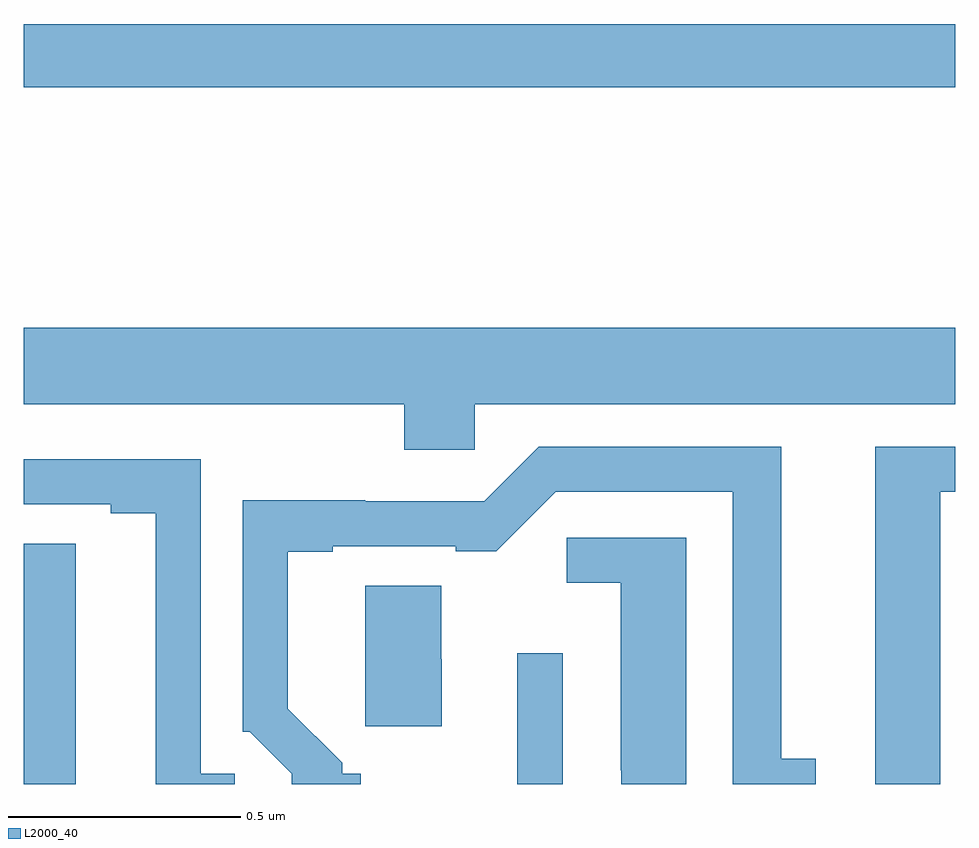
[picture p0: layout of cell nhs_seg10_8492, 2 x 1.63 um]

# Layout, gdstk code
import gdstk
lib = gdstk.Library(unit=1e-6, precision=1e-09)
def R(c, l, rs):  # rectangles x0, y0, x1, y1
    for r in rs: c.add(gdstk.rectangle(r[:2], r[2:], *l))
def P(c, l, *ps):  # polygons
    for p in ps: c.add(gdstk.Polygon(p, *l))
L2000_40 = (2000, 40)

nhs_seg10_8492 = lib.new_cell('nhs_seg10_8492')
R(nhs_seg10_8492, L2000_40, [(217,1299.5,217.111,1300.016), (218.06,1299.5,218.157,1299.781), (217,1300.996,219,1301.132)])
P(nhs_seg10_8492, L2000_40, [(217.968,1300.316),(219,1300.316),(219,1300.48),(217,1300.48),(217,1300.316),(217.817,1300.316),(217.817,1300.218),(217.968,1300.218)],
  [(217.723,1299.522),(217.684,1299.522),(217.684,1299.546),(217.567,1299.662),(217.567,1299.999),(217.663,1299.999),(217.663,1300.011),(217.928,1300.011),(217.928,1300),(218.014,1300),(218.142,1300.128),(218.522,1300.128),(218.522,1299.5),(218.701,1299.5),(218.701,1299.554),(218.626,1299.554),(218.626,1300.224),(218.106,1300.224),(217.989,1300.107),(217.733,1300.107),(217.733,1300.109),(217.47,1300.109),(217.47,1299.612),(217.485,1299.612),(217.575,1299.522),(217.575,1299.5),(217.723,1299.5)],
  [(218.968,1300.128),(219,1300.128),(219,1300.224),(218.828,1300.224),(218.828,1299.5),(218.968,1299.5)],
  [(217.453,1299.522),(217.38,1299.522),(217.38,1300.197),(217,1300.197),(217,1300.101),(217.187,1300.101),(217.187,1300.081),(217.283,1300.081),(217.283,1299.5),(217.453,1299.5)],
  [(218.422,1300.029),(218.166,1300.029),(218.166,1299.932),(218.282,1299.932),(218.282,1299.529),(218.283,1299.529),(218.283,1299.5),(218.422,1299.5)],
  [(217.897,1299.768),(217.896,1299.768),(217.896,1299.926),(217.733,1299.926),(217.733,1299.624),(217.897,1299.624)])

lib.write_gds('nhs_seg10_8492.gds')
